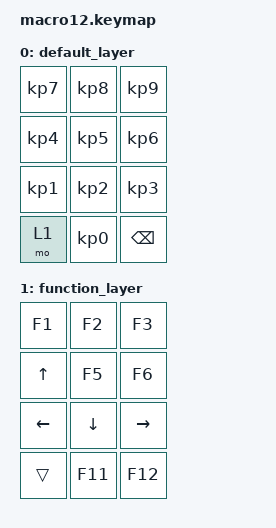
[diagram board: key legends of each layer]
#include <behaviors.dtsi>
#include <dt-bindings/zmk/keys.h>
#include <dt-bindings/zmk/bt.h>

/ {
    chosen {
        zmk,matrix-transform = &default_transform;
    };

    default_transform: matrix_transform {
        compatible = "zmk,matrix-transform";
        rows = <4>;
        columns = <3>;
        map = <
            RC(0,0) RC(0,1) RC(0,2)
            RC(1,0) RC(1,1) RC(1,2)
            RC(2,0) RC(2,1) RC(2,2)
            RC(3,0) RC(3,1) RC(3,2)
        >;
    };

    kscan0: kscan {
        compatible = "zmk,kscan-gpio-matrix";
        diode-direction = "col2row";

        row-gpios
            = <&gpio0 13 (GPIO_ACTIVE_HIGH | GPIO_PULL_DOWN)>
            , <&gpio0 15 (GPIO_ACTIVE_HIGH | GPIO_PULL_DOWN)>
            , <&gpio0 17 (GPIO_ACTIVE_HIGH | GPIO_PULL_DOWN)>
            , <&gpio0 20 (GPIO_ACTIVE_HIGH | GPIO_PULL_DOWN)>
            ;

        col-gpios
            = <&gpio0 22 GPIO_ACTIVE_HIGH>
            , <&gpio0 24 GPIO_ACTIVE_HIGH>
            , <&gpio1 0  GPIO_ACTIVE_HIGH>
            ;
    };

    keymap {
        compatible = "zmk,keymap";

        default_layer {
            bindings = <
                &kp KP_N7    &kp KP_N8    &kp KP_N9
                &kp KP_N4    &kp KP_N5    &kp KP_N6
                &kp KP_N1    &kp KP_N2    &kp KP_N3
                &mo 1        &kp KP_N0    &kp BSPC
            >;
        };

        function_layer {
            bindings = <
                &kp F1       &kp F2       &kp F3 
                &kp UP       &kp F5       &kp F6 
                &kp LEFT     &kp DOWN     &kp RIGHT     
                &trans       &kp F11      &kp F12 
            >;
        };
    };
};
